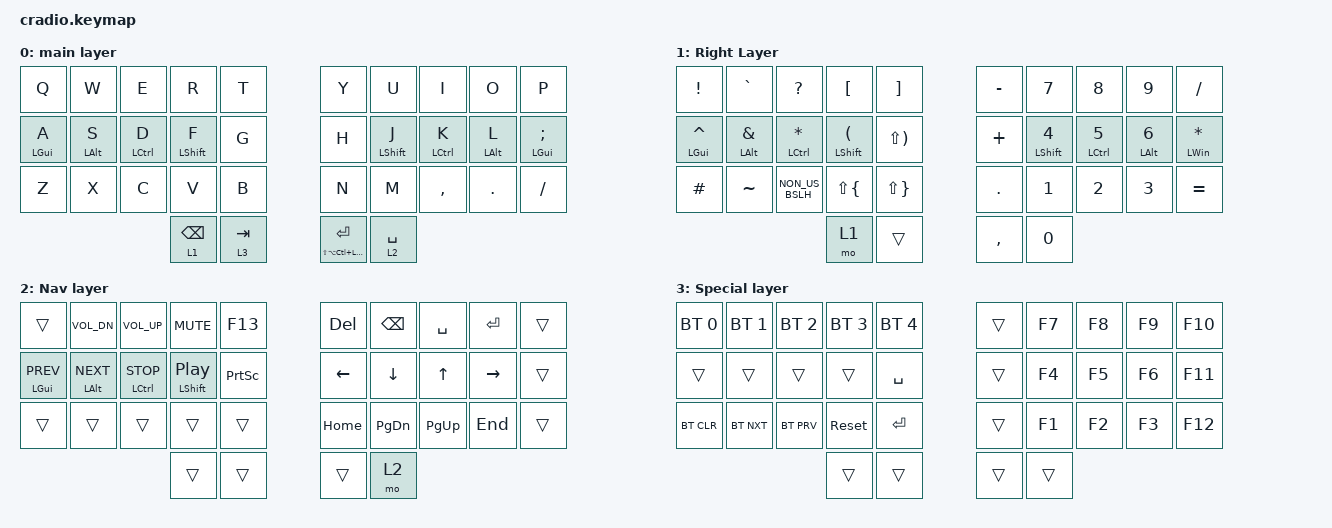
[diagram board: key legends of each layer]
// Copyright (c) 2022 The ZMK Contributors
// SPDX-License-Identifier: MIT

#include <behaviors.dtsi>
#include <dt-bindings/zmk/bt.h>
#include <dt-bindings/zmk/keys.h>

/ {
    behaviors {
        ht: hold_tap {
            compatible = "zmk,behavior-hold-tap";
            #binding-cells = <2>;
            flavor = "tap-preferred";
            tapping-term-ms = <220>;
            quick-tap-ms = <150>;
            require-prior-idle-ms = <100>;
            bindings = <&kp>, <&kp>;
        };
    };

    combos {
        compatible = "zmk,combos";

        esc {
            bindings = <&kp ESC>;
            key-positions = <0 1>;
        };

        CtrlZ {
            bindings = <&kp LC(Z)>;
            key-positions = <20 21>;
        };

        CtrlX {
            bindings = <&kp LC(X)>;
            key-positions = <21 22>;
        };

        CtrlC {
            bindings = <&kp LC(C)>;
            key-positions = <22 23>;
        };

        CtrlV {
            bindings = <&kp LC(V)>;
            key-positions = <23 24>;
        };

        AltF4 {
            bindings = <&kp LA(F4)>;
            key-positions = <21 22 23>;
        };

        Euro {
            bindings = <&kp RA(N5)>;
            key-positions = <3 4>;
        };

        AppsKey {
            bindings = <&kp K_APP>;
            key-positions = <28 29>;
        };

        CtrlW {
            bindings = <&kp LC(W)>;
            key-positions = <0 1 2 3>;
        };

        Minus {
            bindings = <&kp MINUS>;
            key-positions = <8 9>;
        };

        Backslash {
            bindings = <&kp BACKSLASH>;
            key-positions = <18 19>;
        };

        Quotes {
            bindings = <&kp SQT>;
            key-positions = <6 5>;
        };

        Win {
            bindings = <&kp LWIN>;
            key-positions = <10 19>;
        };

        Alt {
            bindings = <&kp LEFT_ALT>;
            key-positions = <11 18>;
        };

        Ctrl {
            bindings = <&kp LCTRL>;
            key-positions = <12 17>;
        };

        CapsWord {
            bindings = <&caps_word>;
            key-positions = <13 16>;
        };
    };

    keymap {
        compatible = "zmk,keymap";

        main_layer {
            display-name = "main layer";
            bindings = <
&kp Q       &kp W       &kp E        &kp R            &kp T        &kp Y                       &kp U        &kp I        &kp O       &kp P
&ht LGUI A  &ht LALT S  &ht LCTRL D  &ht LSHFT F      &kp G        &kp H                       &ht LSHFT J  &ht LCTRL K  &ht LALT L  &ht LGUI SEMICOLON
&kp Z       &kp X       &kp C        &kp V            &kp B        &kp N                       &kp M        &kp COMMA    &kp DOT     &kp FSLH
                                     &lt 1 BACKSPACE  &lt 3 TAB    &mt LS(LA(LC(LWIN))) ENTER  &lt 2 SPACE
            >;
        };

        num_layer {
            display-name = "Right Layer";
            bindings = <
&kp EXCL        &kp GRAVE           &kp QUESTION        &kp LBKT            &kp RBKT        &kp MINUS   &kp N7         &kp N8        &kp N9           &kp SLASH
&mt LGUI CARET  &mt LALT AMPERSAND  &mt LCTRL ASTERISK  &mt LSHIFT LPAR     &kp LS(RPAR)    &kp PLUS    &mt LSHIFT N4  &mt LCTRL N5  &mt LEFT_ALT N6  &mt LWIN ASTERISK
&kp HASH        &kp TILDE           &kp NON_US_BSLH     &kp LS(LEFT_BRACE)  &kp LS(RBRC)    &kp PERIOD  &kp N1         &kp N2        &kp N3           &kp EQUAL
                                                        &mo 1               &trans          &kp COMMA   &kp N0
            >;

            label = "Num layer";
        };

        nav_layer {
            display-name = "Nav layer";
            bindings = <
&trans           &kp C_VOL_DN     &kp C_VOLUME_UP   &kp C_MUTE               &kp F13            &kp DEL   &kp BACKSPACE  &kp SPACE     &kp ENTER  &trans
&mt LGUI C_PREV  &mt LALT C_NEXT  &mt LCTRL C_STOP  &mt LSHIFT C_PLAY_PAUSE  &kp PRINTSCREEN    &kp LEFT  &kp DOWN       &kp UP_ARROW  &kp RIGHT  &trans
&trans           &trans           &trans            &trans                   &trans             &kp HOME  &kp PG_DN      &kp PG_UP     &kp END    &trans
                                                    &trans                   &trans             &trans    &mo 2
            >;
        };

        special_layer {
            display-name = "Special layer";
            bindings = <
&bt BT_SEL 0  &bt BT_SEL 1  &bt BT_SEL 2  &bt BT_SEL 3  &bt BT_SEL 4    &trans  &kp F7  &kp F8  &kp F9  &kp F10
&trans        &trans        &trans        &trans        &kp SPACE       &trans  &kp F4  &kp F5  &kp F6  &kp F11
&bt BT_CLR    &bt BT_NXT    &bt BT_PRV    &sys_reset    &kp ENTER       &trans  &kp F1  &kp F2  &kp F3  &kp F12
                                          &trans        &trans          &trans  &trans
            >;
        };
    };
};
